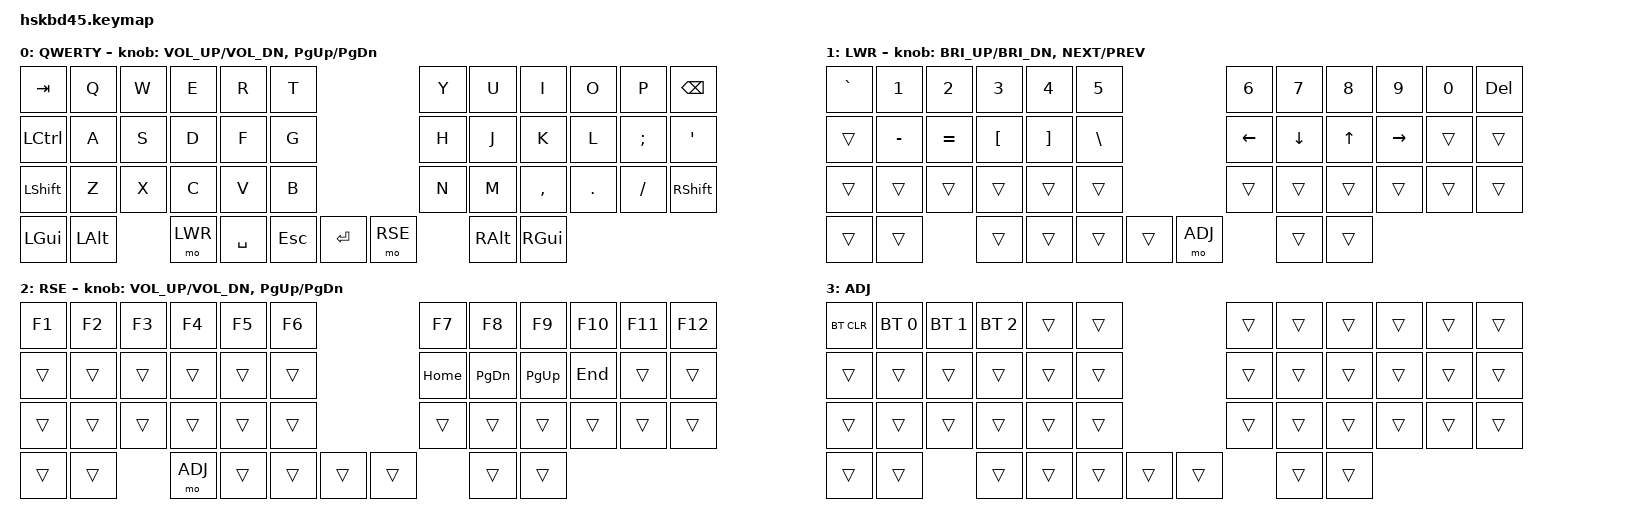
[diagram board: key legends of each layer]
/*
 * HSKBD45 ZMK Keymap
 *
 * Layout (per half, 3x6 + bottom row):
 *
 * LEFT:
 * ┌────┬────┬────┬────┬────┬────┐
 * │    │    │    │    │    │    │
 * ├────┼────┼────┼────┼────┼────┤
 * │    │    │    │    │    │    │
 * ├────┼────┼────┼────┼────┼────┤
 * │    │    │    │    │    │    │
 * ├────┼────┼────┼────┼────┼────┤
 * │    │    │[EN]│    │    │    │  ← [EN] = エンコーダー（キーなし）
 * └────┴────┴────┴────┴────┴────┘
 *
 * 合計キー数：左23 + 右22 = 45キー（エンコーダー2個含まず）
 */

#include <behaviors.dtsi>
#include <dt-bindings/zmk/keys.h>
#include <dt-bindings/zmk/bt.h>

#define QWERTY 0
#define LWR    1
#define RSE    2
#define ADJ    3

/ {
    keymap {
        compatible = "zmk,keymap";

        /* ─── Layer 0: QWERTY ─── */
        qwerty_layer {
            label = "QWERTY";
            bindings = <
/*  ┌──────┬──────┬──────┬──────┬──────┬──────┐                    ┌──────┬──────┬──────┬──────┬──────┬──────┐ */
    &kp TAB  &kp Q  &kp W  &kp E  &kp R  &kp T                      &kp Y  &kp U  &kp I  &kp O  &kp P  &kp BSPC
/*  ├──────┼──────┼──────┼──────┼──────┼──────┤                    ├──────┼──────┼──────┼──────┼──────┼──────┤ */
    &kp LCTRL &kp A &kp S  &kp D  &kp F  &kp G                      &kp H  &kp J  &kp K  &kp L &kp SEMI &kp SQT
/*  ├──────┼──────┼──────┼──────┼──────┼──────┤                    ├──────┼──────┼──────┼──────┼──────┼──────┤ */
    &kp LSHFT &kp Z &kp X  &kp C  &kp V  &kp B                      &kp N  &kp M &kp COMMA &kp DOT &kp SLASH &kp RSHFT
/*  ├──────┼──────┼──────┼──────┼──────┼──────┤                    ├──────┼──────┼──────┼──────┼──────┤ */
    &kp LGUI &kp LALT      &mo LWR &kp SPC &kp ESC  &kp RET &mo RSE       &kp RALT &kp RGUI
/*  └──────┴──────┘      └──────┴──────┴──────┘  └──────┴──────┘       └──────┴──────┘ */
            >;

            sensor-bindings = <&inc_dec_kp C_VOL_UP C_VOL_DN &inc_dec_kp PG_UP PG_DN>;
        };

        /* ─── Layer 1: Lower ─── */
        lower_layer {
            label = "LWR";
            bindings = <
    &kp GRAVE &kp N1 &kp N2 &kp N3 &kp N4 &kp N5                   &kp N6 &kp N7 &kp N8 &kp N9 &kp N0 &kp DEL
    &trans  &kp MINUS &kp EQUAL &kp LBKT &kp RBKT &kp BSLH          &kp LEFT &kp DOWN &kp UP &kp RIGHT &trans &trans
    &trans  &trans  &trans  &trans  &trans  &trans                   &trans  &trans  &trans  &trans  &trans  &trans
    &trans  &trans          &trans  &trans  &trans   &trans  &mo ADJ          &trans  &trans
            >;

            sensor-bindings = <&inc_dec_kp C_BRI_UP C_BRI_DN &inc_dec_kp C_NEXT C_PREV>;
        };

        /* ─── Layer 2: Raise ─── */
        raise_layer {
            label = "RSE";
            bindings = <
    &kp F1  &kp F2  &kp F3  &kp F4  &kp F5  &kp F6                  &kp F7  &kp F8  &kp F9  &kp F10 &kp F11 &kp F12
    &trans  &trans  &trans  &trans  &trans  &trans                   &kp HOME &kp PG_DN &kp PG_UP &kp END &trans &trans
    &trans  &trans  &trans  &trans  &trans  &trans                   &trans  &trans  &trans  &trans  &trans  &trans
    &trans  &trans          &mo ADJ &trans  &trans   &trans  &trans           &trans  &trans
            >;

            sensor-bindings = <&inc_dec_kp C_VOL_UP C_VOL_DN &inc_dec_kp PG_UP PG_DN>;
        };

        /* ─── Layer 3: Adjust (BT など) ─── */
        adjust_layer {
            label = "ADJ";
            bindings = <
    &bt BT_CLR &bt BT_SEL 0 &bt BT_SEL 1 &bt BT_SEL 2 &trans &trans   &trans &trans &trans &trans &trans &trans
    &trans  &trans  &trans  &trans  &trans  &trans                   &trans  &trans  &trans  &trans  &trans  &trans
    &trans  &trans  &trans  &trans  &trans  &trans                   &trans  &trans  &trans  &trans  &trans  &trans
    &trans  &trans          &trans  &trans  &trans   &trans  &trans           &trans  &trans
            >;
        };
    };
};
